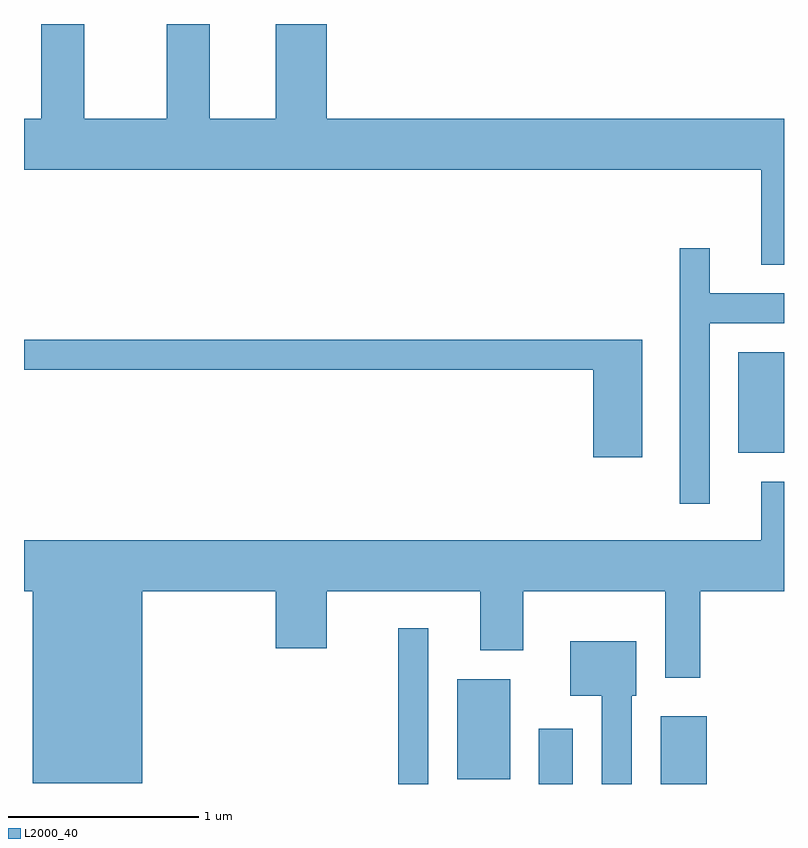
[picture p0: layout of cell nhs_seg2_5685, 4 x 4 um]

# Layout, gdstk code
import gdstk
lib = gdstk.Library(unit=1e-6, precision=1e-09)
def R(c, l, rs):  # rectangles x0, y0, x1, y1
    for r in rs: c.add(gdstk.rectangle(r[:2], r[2:], *l))
def P(c, l, *ps):  # polygons
    for p in ps: c.add(gdstk.Polygon(p, *l))
L2000_40 = (2000, 40)

nhs_seg2_5685 = lib.new_cell('nhs_seg2_5685')
R(nhs_seg2_5685, L2000_40, [(355.581,991.802,355.739,992.623), (356.321,991.802,356.499,992.094), (356.961,991.802,357.204,992.159), (355.891,991.826,356.169,992.354), (357.371,993.546,357.611,994.074)])
P(nhs_seg2_5685, L2000_40, [(357.611,995.304),(355.204,995.304),(355.204,995.802),(354.936,995.802),(354.936,995.304),(354.589,995.304),(354.589,995.802),(354.361,995.802),(354.361,995.304),(353.929,995.304),(353.929,995.802),(353.701,995.802),(353.701,995.304),(353.611,995.304),(353.611,995.036),(357.491,995.036),(357.491,994.536),(357.611,994.536)],
  [(357.219,994.226),(357.611,994.226),(357.611,994.384),(357.219,994.384),(357.219,994.623),(357.061,994.623),(357.061,993.278),(357.219,993.278)],
  [(356.864,994.139),(353.611,994.139),(353.611,993.981),(356.606,993.981),(356.606,993.521),(356.864,993.521)],
  [(354.234,992.816),(354.936,992.816),(354.936,992.516),(355.204,992.516),(355.204,992.816),(356.011,992.816),(356.011,992.506),(356.239,992.506),(356.239,992.816),(356.986,992.816),(356.986,992.361),(357.169,992.361),(357.169,992.816),(357.611,992.816),(357.611,993.394),(357.491,993.394),(357.491,993.084),(353.611,993.084),(353.611,992.816),(353.656,992.816),(353.656,991.806),(354.234,991.806)],
  [(356.809,992.266),(356.834,992.266),(356.834,992.554),(356.486,992.554),(356.486,992.266),(356.651,992.266),(356.651,991.802),(356.809,991.802)])

lib.write_gds('nhs_seg2_5685.gds')
